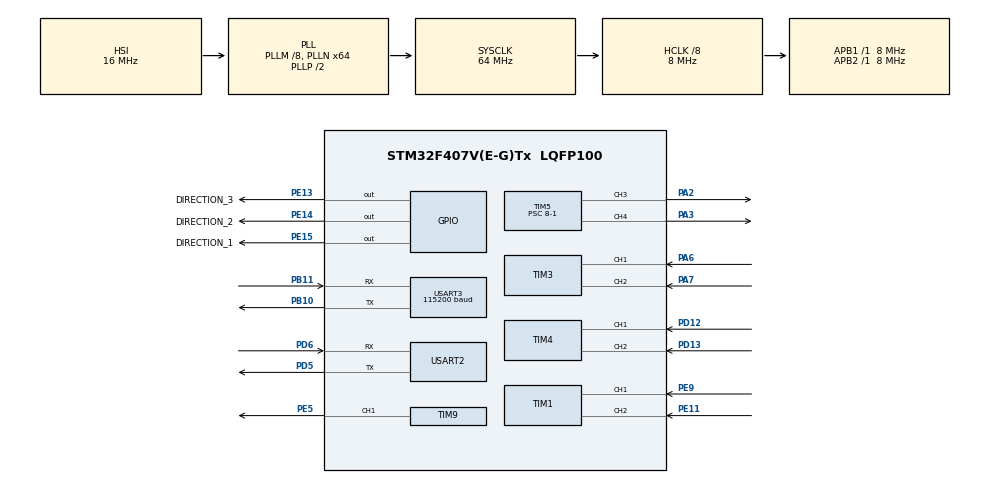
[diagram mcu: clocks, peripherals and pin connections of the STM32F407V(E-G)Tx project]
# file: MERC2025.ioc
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FREERTOS.Queues01=myButtons,200,char,0,Dynamic,NULL,NULL
FREERTOS.Tasks01=CONTROL,8,128,StartControl,Default,NULL,Dynamic,NULL,NULL;PID,24,128,StartPID,Default,NULL,Dynamic,NULL,NULL
Mcu.Family=STM32F4
Mcu.Name=STM32F407V(E-G)Tx
Mcu.Package=LQFP100
NVIC.PriorityGroup=NVIC_PRIORITYGROUP_4
NVIC.TIM1_UP_TIM10_IRQn=true\:15\:0\:false\:false\:true\:false\:false\:true\:true
NVIC.TimeBase=TIM1_UP_TIM10_IRQn
NVIC.TimeBaseIP=TIM10
NVIC.USART2_IRQn=true\:5\:0\:false\:false\:true\:true\:true\:true\:true
NVIC.USART3_IRQn=true\:6\:0\:true\:false\:true\:true\:true\:true\:true
PA13.Mode=Serial_Wire
PA13.Signal=SYS_JTMS-SWDIO
PA14.Mode=Serial_Wire
PA14.Signal=SYS_JTCK-SWCLK
PA2.Signal=S_TIM5_CH3
PA3.Signal=S_TIM5_CH4
PA6.Signal=S_TIM3_CH1
PA7.Signal=S_TIM3_CH2
PB10.Mode=Asynchronous
PB10.Signal=USART3_TX
PB11.Mode=Asynchronous
PB11.Signal=USART3_RX
PD12.Signal=S_TIM4_CH1
PD13.Signal=S_TIM4_CH2
PD5.Mode=Asynchronous
PD5.Signal=USART2_TX
PD6.Mode=Asynchronous
PD6.Signal=USART2_RX
PE11.Signal=S_TIM1_CH2
PE13.GPIO_Label=DIRECTION_3
PE13.Signal=GPIO_Output
PE14.GPIO_Label=DIRECTION_2
PE14.Signal=GPIO_Output
PE15.GPIO_Label=DIRECTION_1
PE15.Signal=GPIO_Output
PE5.Signal=S_TIM9_CH1
PE9.Signal=S_TIM1_CH1
PH0-OSC_IN.Mode=HSE-External-Oscillator
PH0-OSC_IN.Signal=RCC_OSC_IN
PH1-OSC_OUT.Mode=HSE-External-Oscillator
PH1-OSC_OUT.Signal=RCC_OSC_OUT
ProjectManager.HeapSize=0x200
ProjectManager.StackSize=0x400
ProjectManager.TargetToolchain=STM32CubeIDE
RCC.48MHZClocksFreq_Value=32000000
RCC.AHBCLKDivider=RCC_SYSCLK_DIV8
RCC.AHBFreq_Value=8000000
RCC.APB1Freq_Value=8000000
RCC.APB1TimFreq_Value=8000000
RCC.APB2Freq_Value=8000000
RCC.APB2TimFreq_Value=8000000
RCC.CortexFreq_Value=8000000
RCC.HCLKFreq_Value=8000000
RCC.HSE_VALUE=25000000
RCC.HSI_VALUE=16000000
RCC.LSE_VALUE=32768
RCC.PLLM=8
RCC.PLLN=64
RCC.SYSCLKFreq_VALUE=64000000
RCC.SYSCLKSource=RCC_SYSCLKSOURCE_PLLCLK
RCC.VCOOutputFreq_Value=128000000
SH.S_TIM1_CH1.0=TIM1_CH1,Encoder_Interface
SH.S_TIM1_CH2.0=TIM1_CH2,Encoder_Interface
SH.S_TIM3_CH1.0=TIM3_CH1,Encoder_Interface
SH.S_TIM3_CH2.0=TIM3_CH2,Encoder_Interface
SH.S_TIM4_CH1.0=TIM4_CH1,Encoder_Interface
SH.S_TIM4_CH2.0=TIM4_CH2,Encoder_Interface
SH.S_TIM5_CH3.0=TIM5_CH3,PWM Generation3 CH3
SH.S_TIM5_CH4.0=TIM5_CH4,PWM Generation4 CH4
SH.S_TIM9_CH1.0=TIM9_CH1,PWM Generation1 CH1
TIM1.EncoderMode=TIM_ENCODERMODE_TI12
TIM3.EncoderMode=TIM_ENCODERMODE_TI12
TIM4.EncoderMode=TIM_ENCODERMODE_TI12
TIM5.Channel-PWM\ Generation3\ CH3=TIM_CHANNEL_3
TIM5.Channel-PWM\ Generation4\ CH4=TIM_CHANNEL_4
TIM5.Period=100-1
TIM5.Prescaler=8-1
TIM9.Channel-PWM\ Generation1\ CH1=TIM_CHANNEL_1
TIM9.Period=100-1
TIM9.Prescaler=8-1
USART2.VirtualMode=VM_ASYNC
USART3.BaudRate=115200
USART3.Mode=MODE_RX
USART3.VirtualMode=VM_ASYNC
VP_FREERTOS_VS_CMSIS_V2.Mode=CMSIS_V2
VP_SYS_VS_tim10.Mode=TIM10
VP_TIM9_VS_ClockSourceINT.Mode=Internal
board=custom

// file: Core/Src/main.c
/* USER CODE BEGIN Header */
/**
  ******************************************************************************
  * @file           : main.c
  * @brief          : Main program body
  ******************************************************************************
  * @attention
  *
  * Copyright (c) 2024 STMicroelectronics.
  * All rights reserved.
  *
  * This software is licensed under terms that can be found in the LICENSE file
  * in the root directory of this software component.
  * If no LICENSE file comes with this software, it is provided AS-IS.
  *
  ******************************************************************************
  */
/* USER CODE END Header */
#include "main.h"
#include "cmsis_os.h"

TIM_HandleTypeDef htim1;
TIM_HandleTypeDef htim3;
TIM_HandleTypeDef htim4;
TIM_HandleTypeDef htim5;
TIM_HandleTypeDef htim9;

UART_HandleTypeDef huart3;

/* Definitions for CONTROL */
osThreadId_t CONTROLHandle;
const osThreadAttr_t CONTROL_attributes = {
  .name = "CONTROL",
  .stack_size = 128 * 4,
  .priority = (osPriority_t) osPriorityLow,
};
/* Definitions for PID */
osThreadId_t PIDHandle;
const osThreadAttr_t PID_attributes = {
  .name = "PID",
  .stack_size = 128 * 4,
  .priority = (osPriority_t) osPriorityNormal,
};
/* Definitions for myButtons */
osMessageQueueId_t myButtonsHandle;
const osMessageQueueAttr_t myButtons_attributes = {
  .name = "myButtons"
};

void SystemClock_Config(void);
static void MX_GPIO_Init(void);
static void MX_TIM1_Init(void);
static void MX_TIM3_Init(void);
static void MX_TIM4_Init(void);
static void MX_TIM5_Init(void);
static void MX_TIM9_Init(void);
static void MX_USART3_UART_Init(void);
static void MX_USART2_UART_Init(void);
void StartControl(void *argument);
void StartPID(void *argument);

/* USER CODE BEGIN 0 */
PID_Param_t pid;
double out_1, out_2, out_3=0;
double rpm_1, rpm_2, rpm_3=0;
bool flag_Vd=false;
bool flag_Vtheta=false;
double Vd, Vtheta=0;
uint8_t rx_data;

void pid_config(void){
	pid.Kp=0.3;
	pid.Ki=0.2;
	pid.Kd=0.005;
	pid.target_val_1=V1;
	pid.target_val_2=V2;
	pid.target_val_3=V3;
	PID_init(&pid);
}

/**---UART6 Interrupt--*/
//void HAL_UART_RxCpltCallback(UART_HandleTypeDef *huart){
//	if(huart->Instance == USART3){
//		HAL_UART_Receive_IT(&huart3, &rx_data, 1);
//	}
//}
//#ifdef __GNUC__
//#define PUTCHAR_PROTOTYPE int __io_putchar(int ch)
//#else
//#define PUTCHAR_PROTOTYPE int fputc(int ch, FILE *f)
//#endif
//
//PUTCHAR_PROTOTYPE
//{
//  HAL_UART_Transmit(&huart2, (uint8_t *)&ch, 1, HAL_MAX_DELAY);
//  return ch;
//}
/* USER CODE END 0 */

int main(void)
{

  /* MCU Configuration--------------------------------------------------------*/

  /* Reset of all peripherals, Initializes the Flash interface and the Systick. */
  HAL_Init();

  /* Configure the system clock */
  SystemClock_Config();

  /* Initialize all configured peripherals */
  MX_GPIO_Init();
  MX_TIM1_Init();
  MX_TIM3_Init();
  MX_TIM4_Init();
  MX_TIM5_Init();
  MX_TIM9_Init();
  MX_USART3_UART_Init();
  MX_USART2_UART_Init();
  /* USER CODE BEGIN 2 */
//    systick_init_ms(8000000);
  	__HAL_TIM_SetCompare(&htim5, TIM_CHANNEL_3, 100);
  	__HAL_TIM_SetCompare(&htim5, TIM_CHANNEL_4, 100); //motor 2
  	__HAL_TIM_SetCompare(&htim9, TIM_CHANNEL_1, 100); //motor 3
//
//  	HAL_GPIO_WritePin(DIRECTION_1_GPIO_Port, DIRECTION_1_Pin, GPIO_PIN_SET);
//  	HAL_GPIO_WritePin(DIRECTION_2_GPIO_Port, DIRECTION_2_Pin, GPIO_PIN_SET);
//  	HAL_GPIO_WritePin(DIRECTION_3_GPIO_Port, DIRECTION_3_Pin, GPIO_PIN_SET);

    HAL_TIM_PWM_Start(&htim5, TIM_CHANNEL_3);
    HAL_TIM_PWM_Start(&htim5, TIM_CHANNEL_4);
    HAL_TIM_PWM_Start(&htim9, TIM_CHANNEL_1);

    HAL_TIM_Encoder_Start(&htim1, TIM_CHANNEL_1 | TIM_CHANNEL_2);
    HAL_TIM_Encoder_Start(&htim3, TIM_CHANNEL_1 | TIM_CHANNEL_2);
    HAL_TIM_Encoder_Start(&htim4, TIM_CHANNEL_1 | TIM_CHANNEL_2);

    UARTStdioConfig(USART2,true);

    __HAL_UART_ENABLE_IT(&huart3, UART_IT_RXNE);

  /* USER CODE END 2 */

  /* Init scheduler */
  osKernelInitialize();

  /* Create the queue(s) */
  /* creation of myButtons */
  myButtonsHandle = osMessageQueueNew (200, sizeof(char), &myButtons_attributes);

  /* Create the thread(s) */
  /* creation of CONTROL */
  CONTROLHandle = osThreadNew(StartControl, NULL, &CONTROL_attributes);

  /* creation of PID */
  PIDHandle = osThreadNew(StartPID, NULL, &PID_attributes);

  /* Start scheduler */
  osKernelStart();

  /* We should never get here as control is now taken by the scheduler */
  /* Infinite loop */
  while (1)
  {

  }
}

void SystemClock_Config(void)
{
  RCC_OscInitTypeDef RCC_OscInitStruct = {0};
  RCC_ClkInitTypeDef RCC_ClkInitStruct = {0};

  /** Configure the main internal regulator output voltage
  */
  __HAL_RCC_PWR_CLK_ENABLE();
  __HAL_PWR_VOLTAGESCALING_CONFIG(PWR_REGULATOR_VOLTAGE_SCALE1);

  /** Initializes the RCC Oscillators according to the specified parameters
  * in the RCC_OscInitTypeDef structure.
  */
  RCC_OscInitStruct.OscillatorType = RCC_OSCILLATORTYPE_HSI;
  RCC_OscInitStruct.HSIState = RCC_HSI_ON;
  RCC_OscInitStruct.HSICalibrationValue = RCC_HSICALIBRATION_DEFAULT;
  RCC_OscInitStruct.PLL.PLLState = RCC_PLL_ON;
  RCC_OscInitStruct.PLL.PLLSource = RCC_PLLSOURCE_HSI;
  RCC_OscInitStruct.PLL.PLLM = 8;
  RCC_OscInitStruct.PLL.PLLN = 64;
  RCC_OscInitStruct.PLL.PLLP = RCC_PLLP_DIV2;
  RCC_OscInitStruct.PLL.PLLQ = 4;
  if (HAL_RCC_OscConfig(&RCC_OscInitStruct) != HAL_OK)
  {
    Error_Handler();
  }

  /** Initializes the CPU, AHB and APB buses clocks
  */
  RCC_ClkInitStruct.ClockType = RCC_CLOCKTYPE_HCLK|RCC_CLOCKTYPE_SYSCLK
                              |RCC_CLOCKTYPE_PCLK1|RCC_CLOCKTYPE_PCLK2;
  RCC_ClkInitStruct.SYSCLKSource = RCC_SYSCLKSOURCE_PLLCLK;
  RCC_ClkInitStruct.AHBCLKDivider = RCC_SYSCLK_DIV8;
  RCC_ClkInitStruct.APB1CLKDivider = RCC_HCLK_DIV1;
  RCC_ClkInitStruct.APB2CLKDivider = RCC_HCLK_DIV1;

  if (HAL_RCC_ClockConfig(&RCC_ClkInitStruct, FLASH_LATENCY_0) != HAL_OK)
  {
    Error_Handler();
  }
}

static void MX_TIM1_Init(void)
{

  TIM_Encoder_InitTypeDef sConfig = {0};
  TIM_MasterConfigTypeDef sMasterConfig = {0};

  htim1.Instance = TIM1;
  htim1.Init.Prescaler = 0;
  htim1.Init.CounterMode = TIM_COUNTERMODE_UP;
  htim1.Init.Period = 65535;
  htim1.Init.ClockDivision = TIM_CLOCKDIVISION_DIV1;
  htim1.Init.RepetitionCounter = 0;
  htim1.Init.AutoReloadPreload = TIM_AUTORELOAD_PRELOAD_DISABLE;
  sConfig.EncoderMode = TIM_ENCODERMODE_TI12;
  sConfig.IC1Polarity = TIM_ICPOLARITY_RISING;
  sConfig.IC1Selection = TIM_ICSELECTION_DIRECTTI;
  sConfig.IC1Prescaler = TIM_ICPSC_DIV1;
  sConfig.IC1Filter = 0;
  sConfig.IC2Polarity = TIM_ICPOLARITY_RISING;
  sConfig.IC2Selection = TIM_ICSELECTION_DIRECTTI;
  sConfig.IC2Prescaler = TIM_ICPSC_DIV1;
  sConfig.IC2Filter = 0;
  if (HAL_TIM_Encoder_Init(&htim1, &sConfig) != HAL_OK)
  {
    Error_Handler();
  }
  sMasterConfig.MasterOutputTrigger = TIM_TRGO_RESET;
  sMasterConfig.MasterSlaveMode = TIM_MASTERSLAVEMODE_DISABLE;
  if (HAL_TIMEx_MasterConfigSynchronization(&htim1, &sMasterConfig) != HAL_OK)
  {
    Error_Handler();
  }

}

static void MX_TIM3_Init(void)
{

  TIM_Encoder_InitTypeDef sConfig = {0};
  TIM_MasterConfigTypeDef sMasterConfig = {0};

  htim3.Instance = TIM3;
  htim3.Init.Prescaler = 0;
  htim3.Init.CounterMode = TIM_COUNTERMODE_UP;
  htim3.Init.Period = 65535;
  htim3.Init.ClockDivision = TIM_CLOCKDIVISION_DIV1;
  htim3.Init.AutoReloadPreload = TIM_AUTORELOAD_PRELOAD_DISABLE;
  sConfig.EncoderMode = TIM_ENCODERMODE_TI12;
  sConfig.IC1Polarity = TIM_ICPOLARITY_RISING;
  sConfig.IC1Selection = TIM_ICSELECTION_DIRECTTI;
  sConfig.IC1Prescaler = TIM_ICPSC_DIV1;
  sConfig.IC1Filter = 0;
  sConfig.IC2Polarity = TIM_ICPOLARITY_RISING;
  sConfig.IC2Selection = TIM_ICSELECTION_DIRECTTI;
  sConfig.IC2Prescaler = TIM_ICPSC_DIV1;
  sConfig.IC2Filter = 0;
  if (HAL_TIM_Encoder_Init(&htim3, &sConfig) != HAL_OK)
  {
    Error_Handler();
  }
  sMasterConfig.MasterOutputTrigger = TIM_TRGO_RESET;
  sMasterConfig.MasterSlaveMode = TIM_MASTERSLAVEMODE_DISABLE;
  if (HAL_TIMEx_MasterConfigSynchronization(&htim3, &sMasterConfig) != HAL_OK)
  {
    Error_Handler();
  }

}

static void MX_TIM4_Init(void)
{

  TIM_Encoder_InitTypeDef sConfig = {0};
  TIM_MasterConfigTypeDef sMasterConfig = {0};

  htim4.Instance = TIM4;
  htim4.Init.Prescaler = 0;
  htim4.Init.CounterMode = TIM_COUNTERMODE_UP;
  htim4.Init.Period = 65535;
  htim4.Init.ClockDivision = TIM_CLOCKDIVISION_DIV1;
  htim4.Init.AutoReloadPreload = TIM_AUTORELOAD_PRELOAD_DISABLE;
  sConfig.EncoderMode = TIM_ENCODERMODE_TI12;
  sConfig.IC1Polarity = TIM_ICPOLARITY_RISING;
  sConfig.IC1Selection = TIM_ICSELECTION_DIRECTTI;
  sConfig.IC1Prescaler = TIM_ICPSC_DIV1;
  sConfig.IC1Filter = 0;
  sConfig.IC2Polarity = TIM_ICPOLARITY_RISING;
  sConfig.IC2Selection = TIM_ICSELECTION_DIRECTTI;
  sConfig.IC2Prescaler = TIM_ICPSC_DIV1;
  sConfig.IC2Filter = 0;
  if (HAL_TIM_Encoder_Init(&htim4, &sConfig) != HAL_OK)
  {
    Error_Handler();
  }
  sMasterConfig.MasterOutputTrigger = TIM_TRGO_RESET;
  sMasterConfig.MasterSlaveMode = TIM_MASTERSLAVEMODE_DISABLE;
  if (HAL_TIMEx_MasterConfigSynchronization(&htim4, &sMasterConfig) != HAL_OK)
  {
    Error_Handler();
  }

}

static void MX_TIM5_Init(void)
{

  TIM_MasterConfigTypeDef sMasterConfig = {0};
  TIM_OC_InitTypeDef sConfigOC = {0};

  htim5.Instance = TIM5;
  htim5.Init.Prescaler = 8-1;
  htim5.Init.CounterMode = TIM_COUNTERMODE_UP;
  htim5.Init.Period = 100-1;
  htim5.Init.ClockDivision = TIM_CLOCKDIVISION_DIV1;
  htim5.Init.AutoReloadPreload = TIM_AUTORELOAD_PRELOAD_DISABLE;
  if (HAL_TIM_PWM_Init(&htim5) != HAL_OK)
  {
    Error_Handler();
  }
  sMasterConfig.MasterOutputTrigger = TIM_TRGO_RESET;
  sMasterConfig.MasterSlaveMode = TIM_MASTERSLAVEMODE_DISABLE;
  if (HAL_TIMEx_MasterConfigSynchronization(&htim5, &sMasterConfig) != HAL_OK)
  {
    Error_Handler();
  }
  sConfigOC.OCMode = TIM_OCMODE_PWM1;
  sConfigOC.Pulse = 0;
  sConfigOC.OCPolarity = TIM_OCPOLARITY_HIGH;
  sConfigOC.OCFastMode = TIM_OCFAST_DISABLE;
  if (HAL_TIM_PWM_ConfigChannel(&htim5, &sConfigOC, TIM_CHANNEL_3) != HAL_OK)
  {
    Error_Handler();
  }
  if (HAL_TIM_PWM_ConfigChannel(&htim5, &sConfigOC, TIM_CHANNEL_4) != HAL_OK)
  {
    Error_Handler();
  }
  HAL_TIM_MspPostInit(&htim5);

}

static void MX_TIM9_Init(void)
{

  TIM_ClockConfigTypeDef sClockSourceConfig = {0};
  TIM_OC_InitTypeDef sConfigOC = {0};

  htim9.Instance = TIM9;
  htim9.Init.Prescaler = 8-1;
  htim9.Init.CounterMode = TIM_COUNTERMODE_UP;
  htim9.Init.Period = 100-1;
  htim9.Init.ClockDivision = TIM_CLOCKDIVISION_DIV1;
  htim9.Init.AutoReloadPreload = TIM_AUTORELOAD_PRELOAD_DISABLE;
  if (HAL_TIM_Base_Init(&htim9) != HAL_OK)
  {
    Error_Handler();
  }
  sClockSourceConfig.ClockSource = TIM_CLOCKSOURCE_INTERNAL;
  if (HAL_TIM_ConfigClockSource(&htim9, &sClockSourceConfig) != HAL_OK)
  {
    Error_Handler();
  }
  if (HAL_TIM_PWM_Init(&htim9) != HAL_OK)
  {
    Error_Handler();
  }
  sConfigOC.OCMode = TIM_OCMODE_PWM1;
  sConfigOC.Pulse = 0;
  sConfigOC.OCPolarity = TIM_OCPOLARITY_HIGH;
  sConfigOC.OCFastMode = TIM_OCFAST_DISABLE;
  if (HAL_TIM_PWM_ConfigChannel(&htim9, &sConfigOC, TIM_CHANNEL_1) != HAL_OK)
  {
    Error_Handler();
  }
  HAL_TIM_MspPostInit(&htim9);

}

static void MX_USART2_UART_Init(void)
{

  LL_USART_InitTypeDef USART_InitStruct = {0};

  LL_GPIO_InitTypeDef GPIO_InitStruct = {0};

  /* Peripheral clock enable */
  LL_APB1_GRP1_EnableClock(LL_APB1_GRP1_PERIPH_USART2);

  LL_AHB1_GRP1_EnableClock(LL_AHB1_GRP1_PERIPH_GPIOD);
  /**USART2 GPIO Configuration
  PD5   ------> USART2_TX
  PD6   ------> USART2_RX
  */
  GPIO_InitStruct.Pin = LL_GPIO_PIN_5|LL_GPIO_PIN_6;
  GPIO_InitStruct.Mode = LL_GPIO_MODE_ALTERNATE;
  GPIO_InitStruct.Speed = LL_GPIO_SPEED_FREQ_VERY_HIGH;
  GPIO_InitStruct.OutputType = LL_GPIO_OUTPUT_PUSHPULL;
  GPIO_InitStruct.Pull = LL_GPIO_PULL_NO;
  GPIO_InitStruct.Alternate = LL_GPIO_AF_7;
  LL_GPIO_Init(GPIOD, &GPIO_InitStruct);

  /* USART2 interrupt Init */
  NVIC_SetPriority(USART2_IRQn, NVIC_EncodePriority(NVIC_GetPriorityGrouping(),5, 0));
  NVIC_EnableIRQ(USART2_IRQn);

  USART_InitStruct.BaudRate = 115200;
  USART_InitStruct.DataWidth = LL_USART_DATAWIDTH_8B;
  USART_InitStruct.StopBits = LL_USART_STOPBITS_1;
  USART_InitStruct.Parity = LL_USART_PARITY_NONE;
  USART_InitStruct.TransferDirection = LL_USART_DIRECTION_TX_RX;
  USART_InitStruct.HardwareFlowControl = LL_USART_HWCONTROL_NONE;
  USART_InitStruct.OverSampling = LL_USART_OVERSAMPLING_16;
  LL_USART_Init(USART2, &USART_InitStruct);
  LL_USART_ConfigAsyncMode(USART2);
  LL_USART_Enable(USART2);

}

static void MX_USART3_UART_Init(void)
{

  huart3.Instance = USART3;
  huart3.Init.BaudRate = 115200;
  huart3.Init.WordLength = UART_WORDLENGTH_8B;
  huart3.Init.StopBits = UART_STOPBITS_1;
  huart3.Init.Parity = UART_PARITY_NONE;
  huart3.Init.Mode = UART_MODE_RX;
  huart3.Init.HwFlowCtl = UART_HWCONTROL_NONE;
  huart3.Init.OverSampling = UART_OVERSAMPLING_16;
  if (HAL_UART_Init(&huart3) != HAL_OK)
  {
    Error_Handler();
  }

}

static void MX_GPIO_Init(void)
{
  GPIO_InitTypeDef GPIO_InitStruct = {0};

  /* GPIO Ports Clock Enable */
  __HAL_RCC_GPIOE_CLK_ENABLE();
  __HAL_RCC_GPIOH_CLK_ENABLE();
  __HAL_RCC_GPIOA_CLK_ENABLE();
  __HAL_RCC_GPIOB_CLK_ENABLE();
  __HAL_RCC_GPIOD_CLK_ENABLE();

  /*Configure GPIO pin Output Level */
  HAL_GPIO_WritePin(GPIOE, DIRECTION_3_Pin|DIRECTION_2_Pin|DIRECTION_1_Pin, GPIO_PIN_RESET);

  /*Configure GPIO pins : DIRECTION_3_Pin DIRECTION_2_Pin DIRECTION_1_Pin */
  GPIO_InitStruct.Pin = DIRECTION_3_Pin|DIRECTION_2_Pin|DIRECTION_1_Pin;
  GPIO_InitStruct.Mode = GPIO_MODE_OUTPUT_PP;
  GPIO_InitStruct.Pull = GPIO_NOPULL;
  GPIO_InitStruct.Speed = GPIO_SPEED_FREQ_LOW;
  HAL_GPIO_Init(GPIOE, &GPIO_InitStruct);

}

/* USER CODE BEGIN 4 */
void Control(msgQueueObj_t msg, double Vd, double Vtheta){
	switch(msg.buffer[0]){
	case 'W':
		Robot_Move(Vd, 0, 0);
		break;
	case 'B':
		Robot_Move(Vd, 180, 0);
		break;
	case 'R':
		Robot_Move(Vd, 270, 0);
		break;
	case 'L':
		Robot_Move(Vd, 90, 0);
		break;
	case 'H':
		Robot_Move(Vd, 315, 0);
		break;
	case 'Q':
		Robot_Move(Vd, 45, 0);
		break;
	case 'Z':
		Robot_Move(Vd, 135, 0);
		break;
	case 'V':
		Robot_Move(Vd, 225, 0);
		break;
	case 'X':
		Robot_Move(0, 0, Vtheta);
		break;
	case 'Y':
		Robot_Move(0, 0, -Vtheta);
		break;
	case 'S':
		Robot_Move(0, 0, 0);
		break;
	case 'J':
		flag_Vd=true;
		break;
	case 'K':
		flag_Vtheta=true;
		break;
	default:
		break;
	}
}
/* USER CODE END 4 */

void StartControl(void *argument)
{
  /* USER CODE BEGIN 5 */
	msgQueueObj_t msg;
	osStatus_t status;
	int Vd_msg, Vtheta_msg=0;

  /* Infinite loop */
  for(;;)
  {
//	  vTaskSuspend(CONTROLHandle);
//	  Robot_Move(1, 225, 0);
//	  UARTprintf("task1\r\n");
	  status = osMessageQueueGet(myButtonsHandle, &msg, NULL, 0);   // wait for message
	 	  	if (status == osOK) {
	 	  	  UARTprintf("msg is: %c \r\n", msg.buffer[0]); // process data
	 	  	  if(isdigit((int)msg.buffer[0])){
	 	  		  if(flag_Vd){
		 	  		  Vd_msg=(int)(msg.buffer[0]-'0');
		 	  		  flag_Vd=false;
		 	  		  UARTprintf("Vd: %d \r\n",Vd_msg);
	 	  		  }
	 	  		  if(flag_Vtheta){
		 	  		  Vtheta_msg=(int)(msg.buffer[0]-'0');
		 	  		  flag_Vtheta=false;
		 	  		  UARTprintf("Vtheta: %d \r\n",Vtheta_msg);
	 	  		  }

	 	  	  }
	 	  	  Vd=(double)(Vd_msg/10);
	 	  	  Vtheta=(double)(Vtheta_msg/10);

	 	  		Control(msg, Vd, Vtheta);

	 	  	}
    osDelay(50);
  }
  /* USER CODE END 5 */
}

void StartPID(void *argument)
{
  /* USER CODE BEGIN StartPID */
  /* Infinite loop */
  for(;;)
  {
	  PID();
//	  UARTprintf("task2\r\n");

    osDelay(10);
  }
  /* USER CODE END StartPID */
}

void HAL_TIM_PeriodElapsedCallback(TIM_HandleTypeDef *htim)
{
  if (htim->Instance == TIM10) {
    HAL_IncTick();
  }
}

void Error_Handler(void)
{
  __disable_irq();
  while (1)
  {
  }
}
